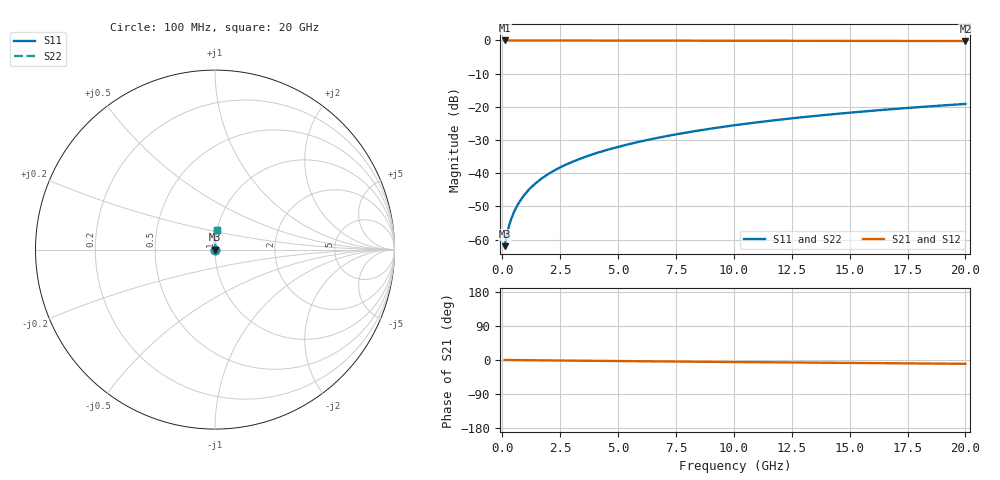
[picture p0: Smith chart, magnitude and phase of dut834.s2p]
! Touchstone file exported from HFSS 2024.1.0
!  File:  C:/UserFiles/LocalFiles/RDL_TSV_Batchsim/temp_RDL_bottom_834_1779863372.aedt
!  Generated:  02:31:53 PM May 27, 2026
!  Design:  RDL_bottom
!  Project:  temp_RDL_bottom_834_1779863372
!  Setup:  Setup1
!  Solution:  Sweep
! Variables:
!  dtsv = 10.80580581um
!  hbump = 3um
!  htsv = 50.04um
!  ldown = 127.15um
!  lrdl = 100um
!  p = 40
!  p1 = 43.63um
!  rhole = 1um
!  t = 450um
!  tdown = 4.95um
!  trdl = 3.915915916um
!  wdown = 20.71um
!  wrdl = 20um
# GHz S MA R 50.000000
! Terminal data exported
! Port[1] = RDL1_T1
! Port[2] = RDL1_T2
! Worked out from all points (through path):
!   200 points, 100 MHz to 20 GHz, reference 50 ohm
!   highest |S21| = -0.01 dB at 100 MHz (marker M1); lowest = -0.2 dB at 20 GHz (marker M2)
!   group delay of S21, straight-line fit = 1.38 ps
!   lowest |S11| = -62.0 dB at 100 MHz (marker M3), VSWR 1.00, Z = 50.1 + j0.0532 ohm
!   |S11| at or under -10 dB: start of sweep to end of sweep
!   |S22| runs from -62.0 to -19.1 dB; largest |S21 - S12| = 3.2e-15
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0.1  0.0007956 41.9  0.9994 -0.1  0.9994 -0.1  0.0007956 41.9
! Gamma 0 0 0 0
! Port Impedance 50 0 50 0
0.2  0.001209 58.9  0.9994 -0.1  0.9994 -0.1  0.001209 58.9
0.3  0.001654 66.9  0.9993 -0.2  0.9993 -0.2  0.001654 66.9
0.4  0.002107 71.6  0.9993 -0.2  0.9993 -0.2  0.002107 71.6
0.5  0.002568 74.8  0.9993 -0.3  0.9993 -0.3  0.002568 74.8
0.6  0.003034 77.1  0.9992 -0.4  0.9992 -0.4  0.003034 77.1
0.8  0.003977 80.2  0.9992 -0.5  0.9992 -0.5  0.003977 80.2
1.1  0.00541 83.0  0.999 -0.6  0.999 -0.6  0.00541 83.0
1.5  0.007339 85.1  0.9989 -0.9  0.9989 -0.9  0.007339 85.1
1.8  0.008796 86.1  0.9987 -1.0  0.9987 -1.0  0.008796 86.1
2.1  0.01026 86.9  0.9985 -1.2  0.9985 -1.2  0.01026 86.9
2.7  0.01321 88.0  0.998 -1.5  0.998 -1.5  0.01321 88.0
3.5  0.01721 88.9  0.9972 -2.0  0.9972 -2.0  0.01721 88.9
4.2  0.02077 89.5  0.9965 -2.4  0.9965 -2.4  0.02077 89.5
5  0.02492 90.0  0.9956 -2.8  0.9956 -2.8  0.02492 90.0
5.9  0.0297 90.3  0.9945 -3.3  0.9945 -3.3  0.0297 90.3
6.8  0.03458 90.4  0.9934 -3.7  0.9934 -3.7  0.03458 90.4
8.4  0.04348 90.2  0.9915 -4.5  0.9915 -4.5  0.04348 90.2
10.1  0.05316 89.7  0.9895 -5.4  0.9895 -5.4  0.05316 89.7
13.4  0.07228 88.1  0.9858 -7.0  0.9858 -7.0  0.07228 88.1
16.7  0.09149 86.2  0.9824 -8.5  0.9824 -8.5  0.09149 86.2
20  0.1106 84.3  0.9791 -10.1  0.9791 -10.1  0.1106 84.3
